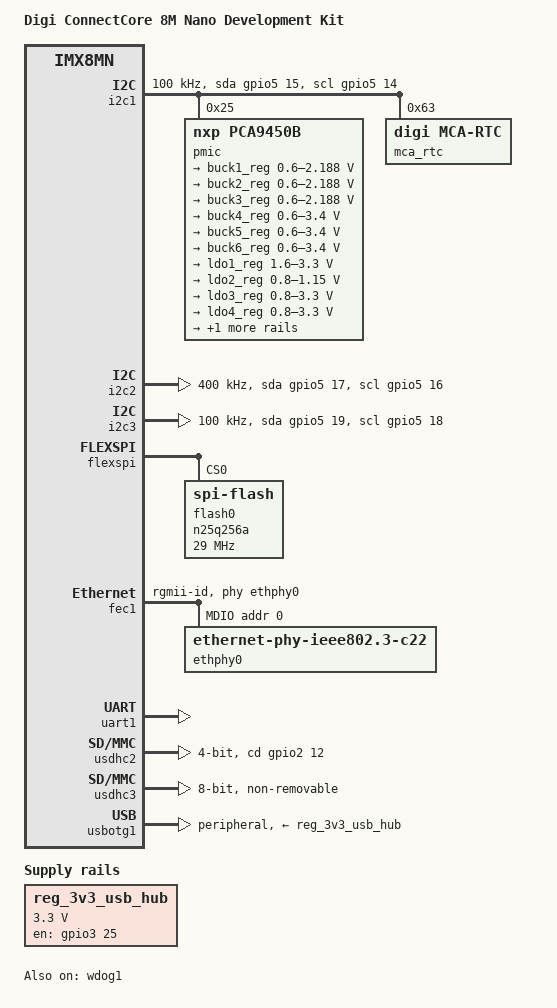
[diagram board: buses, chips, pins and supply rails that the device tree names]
/*
 * Copyright 2019 Digi International Inc
 * Copyright 2018-2019 NXP
 *
 * This program is free software; you can redistribute it and/or
 * modify it under the terms of the GNU General Public License
 * as published by the Free Software Foundation; either version 2
 * of the License, or (at your option) any later version.
 *
 * This program is distributed in the hope that it will be useful,
 * but WITHOUT ANY WARRANTY; without even the implied warranty of
 * MERCHANTABILITY or FITNESS FOR A PARTICULAR PURPOSE.  See the
 * GNU General Public License for more details.
 */

/dts-v1/;

#include <dt-bindings/usb/pd.h>
#include "imx8mn.dtsi"

/ {
	model = "Digi ConnectCore 8M Nano Development Kit";
	compatible = "digi,ccimx8mn", "digi,ccimx8mn-dvk", "fsl,imx8mn-evk", "fsl,imx8mn";

	/*
	 * Some tools (like fw_printenv) rely on fixed mmcblk device indexes
	 * but these are not guaranteed by the kernel.
	 * The use of aliases allows to reorder the mmcblk indexes of every
	 * mmc device. Notice that using aliases requires that ALL mmc devices
	 * have one.
	 */
	aliases {
		mmc0 = &usdhc3;		/* eMMC */
		mmc1 = &usdhc2;		/* microSD */
		mmc2 = &usdhc1;
	};

	chosen {
		bootargs = "console=ttymxc0,115200 earlycon=ec_imx6q,0x30860000,115200";
		stdout-path = &uart1;
	};

	regulators {
		compatible = "simple-bus";
		#address-cells = <1>;
		#size-cells = <0>;

		reg_3v3_usb_hub: regulator@4 {
			compatible = "regulator-fixed";
			reg = <4>;
			pinctrl-names = "default";
			pinctrl-0 = <&pinctrl_reg_3v3_usb_hub>;
			regulator-name = "3v3_usb_hub";
			regulator-min-microvolt = <3300000>;
			regulator-max-microvolt = <3300000>;
			gpio = <&gpio3 25 GPIO_ACTIVE_HIGH>;
			enable-active-high;
		};
	};

	thermal-zones {
		/* cpu thermal */
		cpu-thermal {
			polling-delay-passive = <250>;
			polling-delay = <2000>;
			thermal-sensors = <&tmu>;
			trips {
				cpu_alert0: trip0 {
					temperature = <85000>;
					hysteresis = <2000>;
					type = "passive";
				};
				cpu_crit0: trip1 {
					temperature = <100000>;
					hysteresis = <2000>;
					type = "critical";
				};
			};
		};
	};

	mca_gpio_uboot: mca_gpio {
		compatible = "digi,mca-gpio";
		gpio-controller;
	};

	mca_rtc_uboot: mca_rtc {
		compatible = "digi,mca-rtc";
	};

	mca_wdt_uboot: mca_wdt {
		compatible = "digi,mca-wdt";

		soft-rfsh {
			digi,full-reset;
			digi,no-way-out;
		};
	};
};

&iomuxc {
	pinctrl-names = "default";
	pinctrl-0 = <&pinctrl_hog_1>;

	imx8mn-evk {
		pinctrl_hog_1: hoggrp-1 {
			fsl,pins = <
				MX8MN_IOMUXC_GPIO1_IO08_GPIO1_IO8		0x16
			>;
		};

		pinctrl_fec1: fec1grp {
			fsl,pins = <
				MX8MN_IOMUXC_ENET_MDC_ENET1_MDC		0x3
				MX8MN_IOMUXC_ENET_MDIO_ENET1_MDIO	0x3
				MX8MN_IOMUXC_ENET_TD3_ENET1_RGMII_TD3	0x1f
				MX8MN_IOMUXC_ENET_TD2_ENET1_RGMII_TD2	0x1f
				MX8MN_IOMUXC_ENET_TD1_ENET1_RGMII_TD1	0x1f
				MX8MN_IOMUXC_ENET_TD0_ENET1_RGMII_TD0	0x1f
				MX8MN_IOMUXC_ENET_RD3_ENET1_RGMII_RD3	0x91
				MX8MN_IOMUXC_ENET_RD2_ENET1_RGMII_RD2	0x91
				MX8MN_IOMUXC_ENET_RD1_ENET1_RGMII_RD1	0x91
				MX8MN_IOMUXC_ENET_RD0_ENET1_RGMII_RD0	0x91
				MX8MN_IOMUXC_ENET_TXC_ENET1_RGMII_TXC	0x1f
				MX8MN_IOMUXC_ENET_RXC_ENET1_RGMII_RXC	0x91
				MX8MN_IOMUXC_ENET_RX_CTL_ENET1_RGMII_RX_CTL	0x91
				MX8MN_IOMUXC_ENET_TX_CTL_ENET1_RGMII_TX_CTL	0x1f
				/* PHY reset */
				MX8MN_IOMUXC_SPDIF_TX_GPIO5_IO3	0x19
				/* PHY power */
				MX8MN_IOMUXC_SPDIF_RX_GPIO5_IO4	0x19
			>;
		};

		pinctrl_flexspi0: flexspi0grp {
			fsl,pins = <
				MX8MN_IOMUXC_NAND_ALE_QSPI_A_SCLK 0x1c4
				MX8MN_IOMUXC_NAND_CE0_B_QSPI_A_SS0_B 0x84

				MX8MN_IOMUXC_NAND_DATA00_QSPI_A_DATA0 0x84
				MX8MN_IOMUXC_NAND_DATA01_QSPI_A_DATA1 0x84
				MX8MN_IOMUXC_NAND_DATA02_QSPI_A_DATA2 0x84
				MX8MN_IOMUXC_NAND_DATA03_QSPI_A_DATA3 0x84
			>;
		};

		pinctrl_i2c1: i2c1grp {
			fsl,pins = <
				MX8MN_IOMUXC_I2C1_SCL_I2C1_SCL			0x400001c3
				MX8MN_IOMUXC_I2C1_SDA_I2C1_SDA			0x400001c3
			>;
		};

		pinctrl_i2c2: i2c2grp {
			fsl,pins = <
				MX8MN_IOMUXC_I2C2_SCL_I2C2_SCL			0x400001c3
				MX8MN_IOMUXC_I2C2_SDA_I2C2_SDA			0x400001c3
			>;
		};

		pinctrl_i2c3: i2c3grp {
			fsl,pins = <
				MX8MN_IOMUXC_I2C3_SCL_I2C3_SCL			0x400001c3
				MX8MN_IOMUXC_I2C3_SDA_I2C3_SDA			0x400001c3
			>;
		};

		pinctrl_i2c1_gpio: i2c1grp-gpio {
			fsl,pins = <
				MX8MN_IOMUXC_I2C1_SCL_GPIO5_IO14        		0x1c3
				MX8MN_IOMUXC_I2C1_SDA_GPIO5_IO15        	0x1c3
			>;
		};

		pinctrl_i2c2_gpio: i2c2grp-gpio {
			fsl,pins = <
				MX8MN_IOMUXC_I2C2_SCL_GPIO5_IO16        		0x1c3
				MX8MN_IOMUXC_I2C2_SDA_GPIO5_IO17        	0x1c3
			>;
		};

		pinctrl_i2c3_gpio: i2c3grp-gpio {
			fsl,pins = <
				MX8MN_IOMUXC_I2C3_SCL_GPIO5_IO18        		0x1c3
				MX8MN_IOMUXC_I2C3_SDA_GPIO5_IO19        	0x1c3
			>;
		};

		pinctrl_pmic: pmicirq {
			fsl,pins = <
				MX8MN_IOMUXC_GPIO1_IO03_GPIO1_IO3		0x41
			>;
		};

		pinctrl_reg_3v3_usb_hub: reg_3v3_usb_hub_grp {
			fsl,pins = <
				/* GPIO3_25 USB hub power enable */
				MX8MN_IOMUXC_SAI5_MCLK_GPIO3_IO25		0x41
			>;
		};

		pinctrl_uart1: uart1grp {
			fsl,pins = <
				MX8MN_IOMUXC_SAI2_RXC_UART1_DCE_RX	0x49
				MX8MN_IOMUXC_SAI2_RXFS_UART1_DCE_TX	0x49
			>;
		};

		pinctrl_usbotg1: usbotg1grp {
			fsl,pins = <
				/* USB hub reset */
				MX8MN_IOMUXC_ECSPI2_SCLK_GPIO5_IO10		0x16
			>;
		};

		pinctrl_usdhc2_gpio: usdhc2grpgpio {
			fsl,pins = <
				/* Card detect */
				MX8MN_IOMUXC_SD2_CD_B_GPIO2_IO12	0x1d0
				/* MUX_VSELECT */
				MX8MN_IOMUXC_SAI3_TXD_GPIO5_IO1	0x190
			>;
		};

		pinctrl_usdhc2: usdhc2grp {
			fsl,pins = <
				MX8MN_IOMUXC_SD2_CLK_USDHC2_CLK	0x190
				MX8MN_IOMUXC_SD2_CMD_USDHC2_CMD	0x1d0
				MX8MN_IOMUXC_SD2_DATA0_USDHC2_DATA0	0x1d0
				MX8MN_IOMUXC_SD2_DATA1_USDHC2_DATA1	0x1d0
				MX8MN_IOMUXC_SD2_DATA2_USDHC2_DATA2	0x1d0
				MX8MN_IOMUXC_SD2_DATA3_USDHC2_DATA3	0x1d0
			>;
		};

		pinctrl_usdhc2_100mhz: usdhc2grp100mhz {
			fsl,pins = <
				MX8MN_IOMUXC_SD2_CLK_USDHC2_CLK	0x194
				MX8MN_IOMUXC_SD2_CMD_USDHC2_CMD	0x1d4
				MX8MN_IOMUXC_SD2_DATA0_USDHC2_DATA0	0x1d4
				MX8MN_IOMUXC_SD2_DATA1_USDHC2_DATA1	0x1d4
				MX8MN_IOMUXC_SD2_DATA2_USDHC2_DATA2	0x1d4
				MX8MN_IOMUXC_SD2_DATA3_USDHC2_DATA3	0x1d4
			>;
		};

		pinctrl_usdhc2_200mhz: usdhc2grp200mhz {
			fsl,pins = <
				MX8MN_IOMUXC_SD2_CLK_USDHC2_CLK	0x196
				MX8MN_IOMUXC_SD2_CMD_USDHC2_CMD	0x1d6
				MX8MN_IOMUXC_SD2_DATA0_USDHC2_DATA0	0x1d6
				MX8MN_IOMUXC_SD2_DATA1_USDHC2_DATA1	0x1d6
				MX8MN_IOMUXC_SD2_DATA2_USDHC2_DATA2	0x1d6
				MX8MN_IOMUXC_SD2_DATA3_USDHC2_DATA3	0x1d6
			>;
		};

		pinctrl_usdhc3: usdhc3grp {
			fsl,pins = <
				MX8MN_IOMUXC_NAND_WE_B_USDHC3_CLK		0x40000190
				MX8MN_IOMUXC_NAND_WP_B_USDHC3_CMD		0x1d0
				MX8MN_IOMUXC_NAND_DATA04_USDHC3_DATA0		0x1d0
				MX8MN_IOMUXC_NAND_DATA05_USDHC3_DATA1		0x1d0
				MX8MN_IOMUXC_NAND_DATA06_USDHC3_DATA2		0x1d0
				MX8MN_IOMUXC_NAND_DATA07_USDHC3_DATA3		0x1d0
				MX8MN_IOMUXC_NAND_RE_B_USDHC3_DATA4		0x1d0
				MX8MN_IOMUXC_NAND_CE2_B_USDHC3_DATA5		0x1d0
				MX8MN_IOMUXC_NAND_CE3_B_USDHC3_DATA6		0x1d0
				MX8MN_IOMUXC_NAND_CLE_USDHC3_DATA7		0x1d0
				MX8MN_IOMUXC_NAND_CE1_B_USDHC3_STROBE 		0x190
				MX8MN_IOMUXC_NAND_READY_B_USDHC3_RESET_B	0xc1
			>;
		};

		pinctrl_usdhc3_100mhz: usdhc3grp100mhz {
			fsl,pins = <
				MX8MN_IOMUXC_NAND_WE_B_USDHC3_CLK		0x40000194
				MX8MN_IOMUXC_NAND_WP_B_USDHC3_CMD		0x1d4
				MX8MN_IOMUXC_NAND_DATA04_USDHC3_DATA0		0x1d4
				MX8MN_IOMUXC_NAND_DATA05_USDHC3_DATA1		0x1d4
				MX8MN_IOMUXC_NAND_DATA06_USDHC3_DATA2		0x1d4
				MX8MN_IOMUXC_NAND_DATA07_USDHC3_DATA3		0x1d4
				MX8MN_IOMUXC_NAND_RE_B_USDHC3_DATA4		0x1d4
				MX8MN_IOMUXC_NAND_CE2_B_USDHC3_DATA5		0x1d4
				MX8MN_IOMUXC_NAND_CE3_B_USDHC3_DATA6		0x1d4
				MX8MN_IOMUXC_NAND_CLE_USDHC3_DATA7		0x1d4
				MX8MN_IOMUXC_NAND_CE1_B_USDHC3_STROBE 		0x194
				MX8MN_IOMUXC_NAND_READY_B_USDHC3_RESET_B	0xc1
			>;
		};

		pinctrl_usdhc3_200mhz: usdhc3grp200mhz {
			fsl,pins = <
				MX8MN_IOMUXC_NAND_WE_B_USDHC3_CLK		0x40000196
				MX8MN_IOMUXC_NAND_WP_B_USDHC3_CMD		0x1d6
				MX8MN_IOMUXC_NAND_DATA04_USDHC3_DATA0		0x1d6
				MX8MN_IOMUXC_NAND_DATA05_USDHC3_DATA1		0x1d6
				MX8MN_IOMUXC_NAND_DATA06_USDHC3_DATA2		0x1d6
				MX8MN_IOMUXC_NAND_DATA07_USDHC3_DATA3		0x1d6
				MX8MN_IOMUXC_NAND_RE_B_USDHC3_DATA4		0x1d6
				MX8MN_IOMUXC_NAND_CE2_B_USDHC3_DATA5		0x1d6
				MX8MN_IOMUXC_NAND_CE3_B_USDHC3_DATA6		0x1d6
				MX8MN_IOMUXC_NAND_CLE_USDHC3_DATA7		0x1d6
				MX8MN_IOMUXC_NAND_CE1_B_USDHC3_STROBE 		0x196
				MX8MN_IOMUXC_NAND_READY_B_USDHC3_RESET_B	0xc1
			>;
		};

		pinctrl_wdog: wdoggrp {
			fsl,pins = <
				MX8MN_IOMUXC_GPIO1_IO02_WDOG1_WDOG_B		0xc6
			>;
		};
	};
};

&i2c1 {
	clock-frequency = <100000>;
	pinctrl-names = "default", "gpio";
	pinctrl-0 = <&pinctrl_i2c1>;
	pinctrl-1 = <&pinctrl_i2c1_gpio>;
	scl-gpios = <&gpio5 14 GPIO_ACTIVE_HIGH>;
	sda-gpios = <&gpio5 15 GPIO_ACTIVE_HIGH>;
	status = "okay";

	/*
	 * This PMIC is only present in ccimx8mn revisions 2 and higher, revision 1
	 * of the SOM uses the bd71837. This causes errors when attempting to use
	 * the "pmic" command in v1 SOMs. The initialization of the PMIC is handled
	 * in the SPL without using device tree information, and is compatible with
	 * both PMICs.
	 */
	pmic: pca9450@25 {
		reg = <0x25>;
		compatible = "nxp,pca9450b";

		gpo {
			nxp,drv = <0x0C>;	/* 0b0000_1100 all gpos with cmos output mode */
		};

		regulators {
			#address-cells = <1>;
			#size-cells = <0>;

			pca9450,pmic-buck2-uses-i2c-dvs;
			pca9450,pmic-buck2-dvs-voltage = <1000000>, <900000>, <0>; /* VDD_ARM: Run-Idle */

			buck1_reg: regulator@0 {
				reg = <0>;
				regulator-compatible = "buck1";
				regulator-min-microvolt = <600000>;
				regulator-max-microvolt = <2187500>;
				regulator-boot-on;
				regulator-always-on;
				regulator-ramp-delay = <3125>;
			};

			buck2_reg: regulator@1 {
				reg = <1>;
				regulator-compatible = "buck2";
				regulator-min-microvolt = <600000>;
				regulator-max-microvolt = <2187500>;
				regulator-boot-on;
				regulator-always-on;
				regulator-ramp-delay = <3125>;
			};

			buck3_reg: regulator@2 {
				reg = <2>;
				regulator-compatible = "buck3";
				regulator-min-microvolt = <600000>;
				regulator-max-microvolt = <2187500>;
				regulator-boot-on;
				regulator-always-on;
			};

			buck4_reg: regulator@3 {
				reg = <3>;
				regulator-compatible = "buck4";
				regulator-min-microvolt = <600000>;
				regulator-max-microvolt = <3400000>;
				regulator-boot-on;
				regulator-always-on;
			};

			buck5_reg: regulator@4 {
				reg = <4>;
				regulator-compatible = "buck5";
				regulator-min-microvolt = <600000>;
				regulator-max-microvolt = <3400000>;
				regulator-boot-on;
				regulator-always-on;
			};

			buck6_reg: regulator@5 {
				reg = <5>;
				regulator-compatible = "buck6";
				regulator-min-microvolt = <600000>;
				regulator-max-microvolt = <3400000>;
				regulator-boot-on;
				regulator-always-on;
			};

			ldo1_reg: regulator@6 {
				reg = <6>;
				regulator-compatible = "ldo1";
				regulator-min-microvolt = <1600000>;
				regulator-max-microvolt = <3300000>;
				regulator-boot-on;
				regulator-always-on;
			};

			ldo2_reg: regulator@7 {
				reg = <7>;
				regulator-compatible = "ldo2";
				regulator-min-microvolt = <800000>;
				regulator-max-microvolt = <1150000>;
				regulator-boot-on;
				regulator-always-on;
			};

			ldo3_reg: regulator@8 {
				reg = <8>;
				regulator-compatible = "ldo3";
				regulator-min-microvolt = <800000>;
				regulator-max-microvolt = <3300000>;
				regulator-boot-on;
				regulator-always-on;
			};

			ldo4_reg: regulator@9 {
				reg = <9>;
				regulator-compatible = "ldo4";
				regulator-min-microvolt = <800000>;
				regulator-max-microvolt = <3300000>;
				regulator-boot-on;
				regulator-always-on;
			};

			ldo5_reg: regulator@10 {
				reg = <10>;
				regulator-compatible = "ldo5";
				regulator-min-microvolt = <1800000>;
				regulator-max-microvolt = <3300000>;
			};

		};
	};

	mca_rtc: rtc@63 {
		compatible = "digi,mca-rtc";
		reg = <0x63>;
	};
};

&i2c2 {
	clock-frequency = <400000>;
	pinctrl-names = "default", "gpio";
	pinctrl-0 = <&pinctrl_i2c2>;
	pinctrl-1 = <&pinctrl_i2c2_gpio>;
	scl-gpios = <&gpio5 16 GPIO_ACTIVE_HIGH>;
	sda-gpios = <&gpio5 17 GPIO_ACTIVE_HIGH>;
	status = "okay";
};

&i2c3 {
	clock-frequency = <100000>;
	pinctrl-names = "default", "gpio";
	pinctrl-0 = <&pinctrl_i2c3>;
	pinctrl-1 = <&pinctrl_i2c3_gpio>;
	scl-gpios = <&gpio5 18 GPIO_ACTIVE_HIGH>;
	sda-gpios = <&gpio5 19 GPIO_ACTIVE_HIGH>;
	status = "okay";
};

&flexspi {
	pinctrl-names = "default";
	pinctrl-0 = <&pinctrl_flexspi0>;
	status = "okay";

	flash0: n25q256a@0 {
		reg = <0>;
		#address-cells = <1>;
		#size-cells = <1>;
		compatible = "spi-flash";
		spi-max-frequency = <29000000>;
		spi-nor,ddr-quad-read-dummy = <8>;
	};
};

&fec1 {
	pinctrl-names = "default";
	pinctrl-0 = <&pinctrl_fec1>;
	phy-mode = "rgmii-id";
	phy-handle = <&ethphy0>;
	fsl,magic-packet;
	status = "okay";

	mdio {
		#address-cells = <1>;
		#size-cells = <0>;

		ethphy0: ethernet-phy@0 {
			compatible = "ethernet-phy-ieee802.3-c22";
			reg = <0>;
			at803x,led-act-blind-workaround;
			at803x,eee-okay;
			at803x,vddio-1p8v;
		};
	};
};

&uart1 { /* console */
	pinctrl-names = "default";
	pinctrl-0 = <&pinctrl_uart1>;
	status = "okay";
};

&usdhc2 {
	pinctrl-names = "default", "state_100mhz", "state_200mhz";
	pinctrl-0 = <&pinctrl_usdhc2>, <&pinctrl_usdhc2_gpio>;
	pinctrl-1 = <&pinctrl_usdhc2_100mhz>, <&pinctrl_usdhc2_gpio>;
	pinctrl-2 = <&pinctrl_usdhc2_200mhz>, <&pinctrl_usdhc2_gpio>;
	cd-gpios = <&gpio2 12 GPIO_ACTIVE_HIGH>;
	/* Assert GPIO5_IO1 low for 3V3 (default) or high for 1.8V */
	pinctrl-assert-gpios = <&gpio5 1 GPIO_ACTIVE_LOW>;
	/* 1.8V currently unsupported */
	no-1-8-v;
	bus-width = <4>;
	status = "okay";
};

&usdhc3 {
	pinctrl-names = "default", "state_100mhz", "state_200mhz";
	pinctrl-0 = <&pinctrl_usdhc3>;
	pinctrl-1 = <&pinctrl_usdhc3_100mhz>;
	pinctrl-2 = <&pinctrl_usdhc3_200mhz>;
	bus-width = <8>;
	non-removable;
	status = "okay";
};

&wdog1 {
	pinctrl-names = "default";
	pinctrl-0 = <&pinctrl_wdog>;
	fsl,ext-reset-output;
	status = "okay";
};

&A53_0 {
	arm-supply = <&buck2_reg>;
};

/* USB_OTG1 connected to usb hub */
&usbotg1 {
	pinctrl-names = "default";
	pinctrl-0 = <&pinctrl_usbotg1>;
	vbus-supply = <&reg_3v3_usb_hub>;
	fsl,reset-gpio = <&gpio5 10 GPIO_ACTIVE_LOW>;
	dr_mode = "peripheral"; /* Set "host" to use a USB mass storage */
	disable-over-current;
	status = "okay";
};
